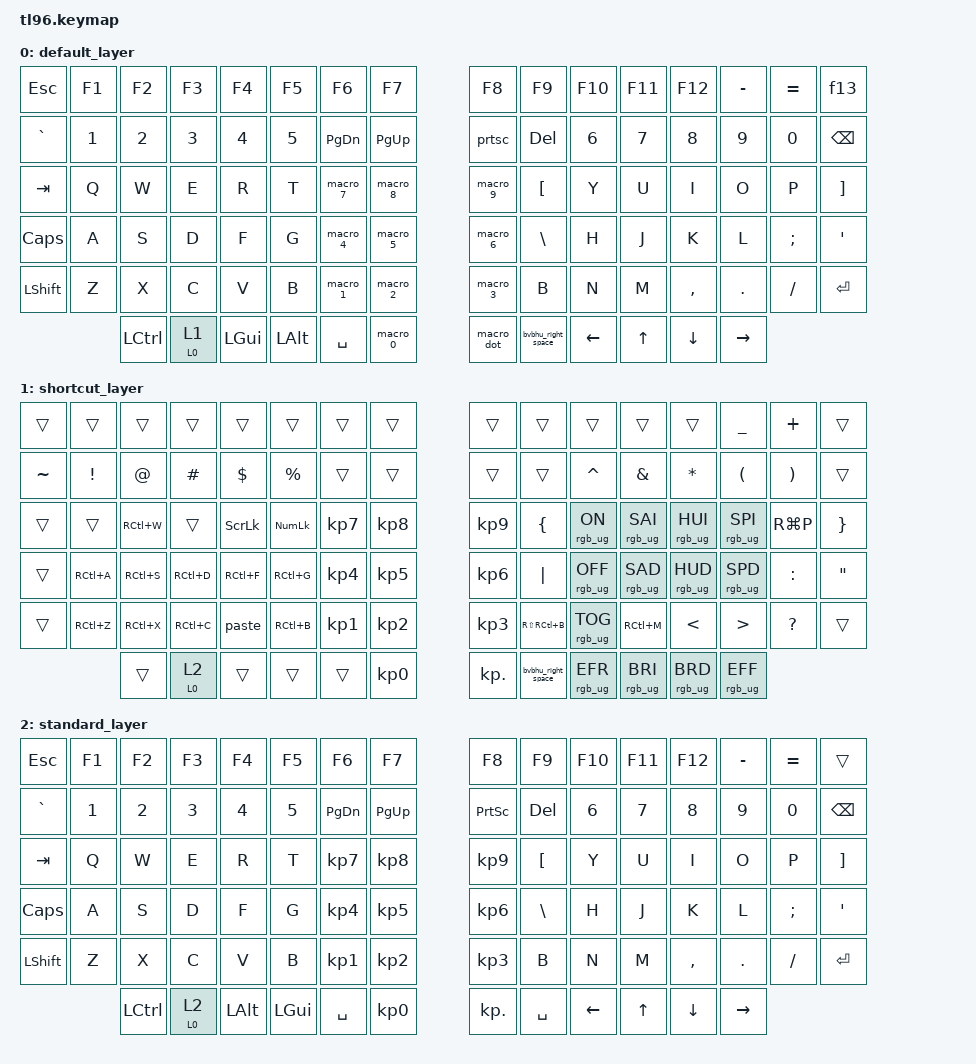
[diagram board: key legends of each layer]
/*
 * Copyright (c) 2026 bvbhu
 * SPDX-License-Identifier: MIT
 *
 * TL96 Keymap for bvbhu
 */

#include <behaviors.dtsi>
#include <dt-bindings/zmk/keys.h>
#include <dt-bindings/zmk/rgb.h>
#include "bvbhu.dtsi"

/ {
    macros {
        /* M1: 输入 "bvbhu" */

        macro_1: macro_1 {
            compatible = "zmk,behavior-macro";
            #binding-cells = <0>;
            bindings = <&kp B &kp V &kp B &kp H &kp U>;
        };

        /* M2: 输入 "2055" */

        macro_2: macro_2 {
            compatible = "zmk,behavior-macro";
            #binding-cells = <0>;
            bindings = <&kp N2 &kp N0 &kp N5 &kp N5>;
        };

        /* M3: 输入 "132445" */

        macro_3: macro_3 {
            compatible = "zmk,behavior-macro";
            #binding-cells = <0>;
            bindings = <&kp N1 &kp N3 &kp N2 &kp N4 &kp N4 &kp N5>;
        };

        /* M4: 上一曲 */

        macro_4: macro_4 {
            compatible = "zmk,behavior-macro";
            #binding-cells = <0>;
            bindings = <&kp C_PREVIOUS>;
        };

        /* M5: 播放/暂停 */

        macro_5: macro_5 {
            compatible = "zmk,behavior-macro";
            #binding-cells = <0>;
            bindings = <&kp C_PLAY_PAUSE>;
        };

        /* M6: 下一曲 */

        macro_6: macro_6 {
            compatible = "zmk,behavior-macro";
            #binding-cells = <0>;
            bindings = <&kp C_NEXT>;
        };

        /* M7: Ctrl+Win+Left（虚拟桌面左移） */

        macro_7: macro_7 {
            compatible = "zmk,behavior-macro";
            #binding-cells = <0>;
            bindings = <&kp RC(RG(LEFT))>;
        };

        /* M8: 输入 " - " */

        macro_8: macro_8 {
            compatible = "zmk,behavior-macro";
            #binding-cells = <0>;
            bindings = <&kp SPACE &kp MINUS &kp SPACE>;
        };

        /* M9: Ctrl+Win+Right（虚拟桌面右移） */

        macro_9: macro_9 {
            compatible = "zmk,behavior-macro";
            #binding-cells = <0>;
            bindings = <&kp RC(RG(RIGHT))>;
        };

        /* M0: Shift+Win+Left（窗口移至左显示器） */

        macro_0: macro_0 {
            compatible = "zmk,behavior-macro";
            #binding-cells = <0>;
            bindings = <&kp RS(RG(LEFT))>;
        };

        /* Mdot: Shift+Win+Right（窗口移至右显示器） */

        macro_dot: macro_dot {
            compatible = "zmk,behavior-macro";
            #binding-cells = <0>;
            bindings = <&kp RS(RG(RIGHT))>;
        };

        /* Mf13r: F13 复位（to0 后 bvbhu 1 处理指示灯） */

        macro_f13_reset: macro_f13_reset {
            compatible = "zmk,behavior-macro";
            #binding-cells = <0>;
            bindings = <&to 0 &bvbhu 1>;
        };
    };

    combos {
        compatible = "zmk,combos";

        /* KP_N0(85) + KP_DOT(86) → 解锁
         * 用自定义行为 &bvbhu 2 替代宏：ZMK combo→宏 会在 combo 释放时
         * 卡死系统 workqueue（issue #2356/#3100），自定义行为经 ck_timer
         * 异步分步执行，规避该问题 */

        combo_unlock: combo_unlock {
            timeout-ms = <50>;
            key-positions = <85 86>;
            bindings = <&bvbhu 2>;
            layers = <0>;
        };

        /* KP_N1(70) + KP_N2(71) + KP_N3(72) → 锁定 */

        combo_lock: combo_lock {
            timeout-ms = <50>;
            key-positions = <70 71 72>;
            bindings = <&bvbhu 3>;
            layers = <0>;
        };

        /* PGDN(22) + PGUP(23) + PSCR(24) → 激活 Lead */

        combo_lead: combo_lead {
            timeout-ms = <50>;
            key-positions = <22 23 24>;
            bindings = <&bvbhu 0>;
            layers = <0 1 2>;
        };
    };

    behaviors {
        prtsc: prtsc {
            compatible = "zmk,behavior-mod-morph";
            bindings = <&kp RA(PSCRN)>, <&kp PRINTSCREEN>;

            #binding-cells = <0>;
            mods = <(MOD_LALT|MOD_RCTL)>;
        };

        paste: paste {
            compatible = "zmk,behavior-mod-morph";
            bindings = <&kp RC(V)>, <&kp V>;

            #binding-cells = <0>;
            mods = <(MOD_LGUI|MOD_RGUI)>;
            keep-mods = <(MOD_LGUI|MOD_RGUI)>;
        };

        fn: fn {
            compatible = "zmk,behavior-hold-tap";
            bindings = <&to>, <&to>;

            #binding-cells = <2>;
            tapping-term-ms = <200>;
        };

        f13: f13 {
            compatible = "zmk,behavior-tap-dance";
            #binding-cells = <0>;
            tapping-term-ms = <500>;
            bindings = <&macro_f13_reset>, <&kp LA(F4)>;
        };

        /* RSPC 占位符（macro 不订阅 position_state_changed，listener 中拦截为自定义逻辑） */

        bvbhu_right_space: bvbhu_right_space {
            compatible = "zmk,behavior-macro";
            #binding-cells = <0>;
            bindings = <&none>;
        };
    };

    keymap {
        compatible = "zmk,keymap";

        default_layer {
            bindings = <
&kp ESC    &kp F1   &kp F2    &kp F3    &kp F4     &kp F5    &kp F6      &kp F7              &kp F8    &kp F9    &kp F10   &kp F11    &kp F12    &kp MINUS  &kp EQUAL  &f13
&kp GRAVE  &kp N1   &kp N2    &kp N3    &kp N4     &kp N5    &kp PG_DN   &kp PG_UP           &prtsc    &kp DEL   &kp N6    &kp N7     &kp N8     &kp N9     &kp N0     &kp BSPC
&kp TAB    &kp Q    &kp W     &kp E     &kp R      &kp T     &macro_7    &macro_8            &macro_9  &kp LBKT  &kp Y     &kp U      &kp I      &kp O      &kp P      &kp RBKT
&kp CAPS   &kp A    &kp S     &kp D     &kp F      &kp G     &macro_4    &macro_5            &macro_6  &kp BSLH  &kp H     &kp J      &kp K      &kp L      &kp SEMI   &kp SQT
&kp LSHFT  &kp Z    &kp X     &kp C     &kp V      &kp B     &macro_1    &macro_2            &macro_3  &kp B     &kp N     &kp M      &kp COMMA  &kp DOT    &kp FSLH   &kp RET
&kp LCTRL  &fn 0 1  &kp LGUI  &kp LALT  &kp SPACE  &macro_0  &macro_dot  &bvbhu_right_space  &kp LEFT  &kp UP    &kp DOWN  &kp RIGHT
            >;
        };

        shortcut_layer {
            bindings = <
&trans     &trans     &trans     &trans     &trans          &trans      &trans      &trans              &trans           &trans           &trans           &trans           &trans           &kp UNDER        &kp PLUS   &trans
&kp TILDE  &kp EXCL   &kp AT     &kp HASH   &kp DLLR        &kp PRCNT   &trans      &trans              &trans           &trans           &kp CARET        &kp AMPS         &kp STAR         &kp LPAR         &kp RPAR   &trans
&trans     &trans     &kp RC(W)  &trans     &kp SCROLLLOCK  &kp KP_NUM  &kp KP_N7   &kp KP_N8           &kp KP_N9        &kp LBRC         &rgb_ug RGB_ON   &rgb_ug RGB_SAI  &rgb_ug RGB_HUI  &rgb_ug RGB_SPI  &kp RG(P)  &kp RBRC
&trans     &kp RC(A)  &kp RC(S)  &kp RC(D)  &kp RC(F)       &kp RC(G)   &kp KP_N4   &kp KP_N5           &kp KP_N6        &kp PIPE         &rgb_ug RGB_OFF  &rgb_ug RGB_SAD  &rgb_ug RGB_HUD  &rgb_ug RGB_SPD  &kp COLON  &kp DQT
&trans     &kp RC(Z)  &kp RC(X)  &kp RC(C)  &paste          &kp RC(B)   &kp KP_N1   &kp KP_N2           &kp KP_N3        &kp RS(RC(B))    &rgb_ug RGB_TOG  &kp RC(M)        &kp LT           &kp GT           &kp QMARK  &trans
&trans     &fn 0 2    &trans     &trans     &trans          &kp KP_N0   &kp KP_DOT  &bvbhu_right_space  &rgb_ug RGB_EFR  &rgb_ug RGB_BRI  &rgb_ug RGB_BRD  &rgb_ug RGB_EFF
            >;
        };

        standard_layer {
            bindings = <
&kp ESC    &kp F1   &kp F2    &kp F3    &kp F4     &kp F5     &kp F6      &kp F7     &kp F8     &kp F9    &kp F10   &kp F11    &kp F12    &kp MINUS  &kp EQUAL  &trans
&kp GRAVE  &kp N1   &kp N2    &kp N3    &kp N4     &kp N5     &kp PG_DN   &kp PG_UP  &kp PSCRN  &kp DEL   &kp N6    &kp N7     &kp N8     &kp N9     &kp N0     &kp BSPC
&kp TAB    &kp Q    &kp W     &kp E     &kp R      &kp T      &kp KP_N7   &kp KP_N8  &kp KP_N9  &kp LBKT  &kp Y     &kp U      &kp I      &kp O      &kp P      &kp RBKT
&kp CAPS   &kp A    &kp S     &kp D     &kp F      &kp G      &kp KP_N4   &kp KP_N5  &kp KP_N6  &kp BSLH  &kp H     &kp J      &kp K      &kp L      &kp SEMI   &kp APOS
&kp LSHFT  &kp Z    &kp X     &kp C     &kp V      &kp B      &kp KP_N1   &kp KP_N2  &kp KP_N3  &kp B     &kp N     &kp M      &kp COMMA  &kp DOT    &kp FSLH   &kp ENTER
&kp LCTRL  &fn 0 2  &kp LALT  &kp LGUI  &kp SPACE  &kp KP_N0  &kp KP_DOT  &kp SPACE  &kp LEFT   &kp UP    &kp DOWN  &kp RIGHT
            >;
        };
    };
};
